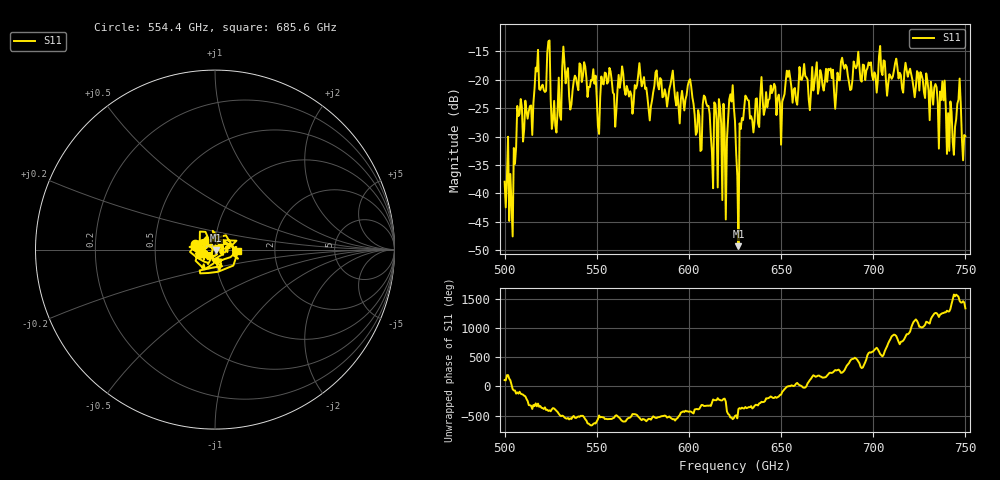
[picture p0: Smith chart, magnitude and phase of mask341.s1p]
!Created with skrf (http://scikit-rf.org).
# GHz S MA R 50.0
!freq magS11 angS11
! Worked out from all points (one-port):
!   401 points, 500 GHz to 750 GHz, reference 50 ohm
!   lowest |S11| = -49.3 dB at 626.9 GHz (marker M1), VSWR 1.01, Z = 50.3 - j0.145 ohm
!   |S11| at or under -10 dB: start of sweep to end of sweep
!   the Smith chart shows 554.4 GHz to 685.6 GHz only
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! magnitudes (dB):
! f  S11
! 500 GHz  -37.9
! 503.8 GHz  -41.8
! 508.1 GHz  -26.0
! 513.8 GHz  -24.6
! 517.5 GHz  -18.5
! 523.8 GHz  -13.3
! 526.9 GHz  -23.7
! 531.2 GHz  -17.8
! 542.5 GHz  -19.3
! 551.2 GHz  -29.5
! 562.5 GHz  -21.4
! 593.8 GHz  -22.2
! 600.6 GHz  -19.9
! 605.6 GHz  -26.4
! 609.4 GHz  -24.1
! 611.9 GHz  -29.8
! 619.4 GHz  -29.2
! 622.5 GHz  -22.6
! 625 GHz  -27.3
! 626.9 GHz  -49.3
! 631.2 GHz  -23.1
! 656.2 GHz  -24.0
! 687.5 GHz  -21.8
! 718.8 GHz  -19.5
! 737.5 GHz  -20.3
! 742.5 GHz  -25.7
! 746.2 GHz  -23.5
! 750 GHz  -29.9
